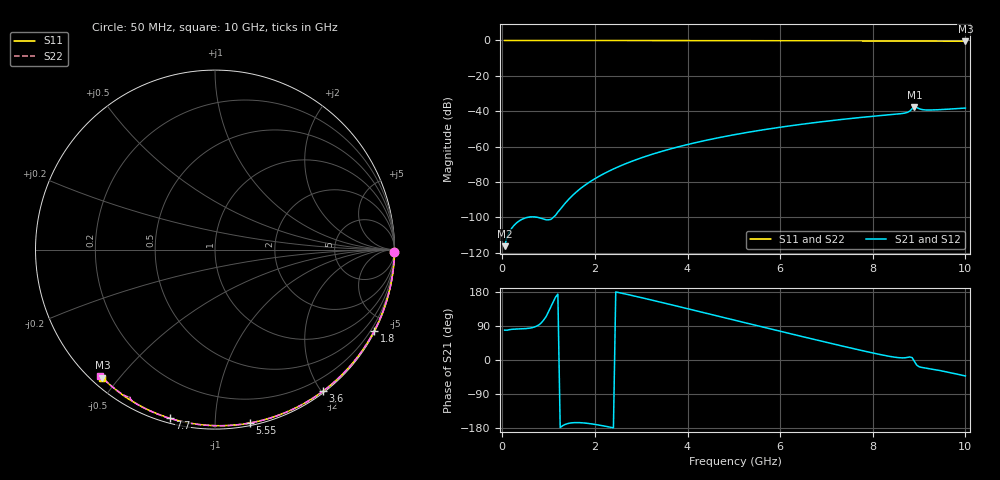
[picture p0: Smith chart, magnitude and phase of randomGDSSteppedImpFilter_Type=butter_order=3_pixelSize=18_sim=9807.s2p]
! freq	dB(S11)	phase(S11)	dB(S12)	phase(S12)
!  dB(S21)	phase(S21)	dB(S22)	phase(S22)
!S-par simulation data
#  GHz  S  DB  R 50
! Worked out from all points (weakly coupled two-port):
!   200 points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, 50 MHz to 10 GHz, reference 50 ohm
!   highest |S21| = -37.53 dB at 8.9 GHz (marker M1); lowest = -116.2 dB at 50 MHz (marker M2)
!   lowest |S11| = -0.4 dB at 10 GHz (marker M3), VSWR 39.22, Z = 1.54 - j22.6 ohm
!   |S11| at or under -10 dB: nowhere
!   |S22| runs from -0.5 to 0.0 dB; largest |S21 - S12| = 0
!   S11 on the Smith chart (normalised r, x): 50 MHz: open; 1.8 GHz: 0.04, -4.18; 3.6 GHz: 0.02, -2.02; 5.55 GHz: 0.02, -1.22; 7.7 GHz: 0.02, -0.77; 10 GHz: 0.03, -0.45
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0.05  -0.00 -0.8  -116.20 78.9  -116.20 78.9  -0.00 -0.8
0.9  -0.02 -13.6  -100.99 106.6  -100.99 106.6  -0.02 -13.7
1.75  -0.03 -26.2  -82.42 -166.0  -82.42 -166.0  -0.03 -26.4
1.8  -0.03 -26.9  -81.47 -166.6  -81.47 -166.6  -0.03 -27.2
1.9  -0.04 -28.4  -79.70 -168.1  -79.70 -168.1  -0.04 -28.6
2.25  -0.04 -33.5  -74.48 -175.4  -74.48 -175.4  -0.04 -33.8
2.65  -0.05 -39.2  -69.75 174.4  -69.75 174.4  -0.05 -39.6
3  -0.06 -44.2  -66.33 164.7  -66.33 164.7  -0.06 -44.6
3.4  -0.07 -49.8  -62.98 153.1  -62.98 153.1  -0.07 -50.3
3.6  -0.07 -52.6  -61.49 147.3  -61.49 147.3  -0.07 -53.1
4.3  -0.09 -62.2  -56.97 126.5  -56.97 126.5  -0.09 -62.8
5.05  -0.11 -72.1  -53.04 104.1  -53.04 104.1  -0.11 -72.8
5.55  -0.13 -78.6  -50.82 89.2  -50.82 89.2  -0.13 -79.3
6.7  -0.18 -93.0  -46.55 55.3  -46.55 55.3  -0.18 -93.8
7.7  -0.24 -104.9  -43.60 26.7  -43.60 26.7  -0.24 -105.9
8.35  -0.29 -112.5  -41.99 9.9  -41.99 9.9  -0.29 -113.7
8.75  -0.32 -117.1  -40.61 6.8  -40.61 6.8  -0.35 -118.7
8.8  -0.33 -117.7  -39.89 8.0  -39.89 8.0  -0.38 -119.4
8.9  -0.33 -118.8  -37.53 -3.7  -37.53 -3.7  -0.50 -120.0
9.05  -0.34 -120.6  -38.94 -19.4  -38.94 -19.4  -0.40 -121.2
9.15  -0.35 -121.7  -39.26 -21.4  -39.26 -21.4  -0.38 -122.5
10  -0.44 -131.3  -38.18 -42.2  -38.18 -42.2  -0.45 -132.4
